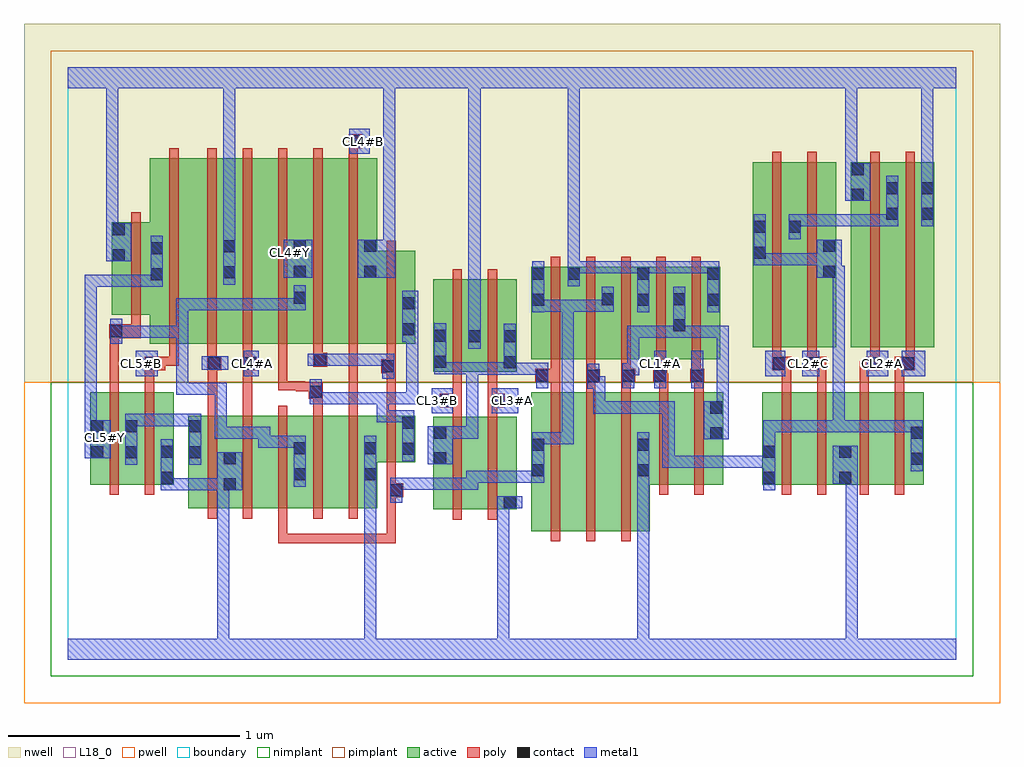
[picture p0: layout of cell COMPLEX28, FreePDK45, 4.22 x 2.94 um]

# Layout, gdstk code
import gdstk
lib = gdstk.Library(unit=1e-6, precision=1e-09)
def R(c, l, rs):  # rectangles x0, y0, x1, y1
    for r in rs: c.add(gdstk.rectangle(r[:2], r[2:], *l))
def A(c, l, x, y, w, h, nx, ny, dx, dy):  # array of equal rectangles
    R(c, l, [(x+i*dx, y+j*dy, x+i*dx+w, y+j*dy+h) for i in range(nx) for j in range(ny)])
active = (1, 0)
pwell = (2, 0)
nwell = (3, 0)
nimplant = (4, 0)
pimplant = (5, 0)
poly = (9, 0)
contact = (10, 0)
metal1 = (11, 0)
L18_0 = (18, 0)
boundary = (235, 0)

complex28 = lib.new_cell('COMPLEX28')
R(complex28, active, [(2.004,0.556,2.184,1.156), (2.004,0.556,2.064,1.156), (2.184,0.556,2.336,1.156), (2.336,0.556,2.516,1.156), (2.456,0.556,2.516,1.01), (1.58,0.65,1.76,1.05), (1.76,0.65,1.94,1.05), (1.88,0.65,1.94,1.05), (0.522,0.654,0.582,1.054), (0.522,0.654,0.73,1.054), (0.67,0.654,0.73,1.054), (0.67,0.654,0.854,1.054), (0.854,0.654,1.034,1.054), (0.974,0.654,1.034,1.054), (0.974,0.654,1.158,1.054), (1.158,0.654,1.338,1.054), (1.278,0.654,1.338,0.944), (0.098,0.756,0.158,1.156), (0.098,0.756,0.306,1.156), (0.246,0.756,0.306,1.156), (0.246,0.756,0.458,1.156), (0.398,0.756,0.458,1.156), (1.58,0.756,1.64,1.05), (2.456,0.756,2.652,1.156), (2.652,0.756,2.832,1.156), (2.772,0.756,2.832,1.156), (3.002,0.756,3.062,1.156), (3.002,0.756,3.182,1.156), (3.182,0.756,3.39,1.156), (3.33,0.756,3.518,1.156), (3.33,0.756,3.39,0.928), (3.518,0.756,3.698,1.156), (3.638,0.756,3.698,1.156), (1.278,0.854,1.502,1.054), (1.442,0.854,1.502,1.054), (1.58,1.244,1.64,1.644), (1.58,1.244,1.788,1.644), (1.728,1.244,1.788,1.644), (1.728,1.244,1.94,1.644), (1.88,1.244,1.94,1.644), (2.004,1.298,2.064,1.698), (2.004,1.298,2.216,1.698), (2.156,1.298,2.364,1.698), (2.304,1.298,2.516,1.698), (2.456,1.298,2.672,1.698), (2.612,1.298,2.82,1.698), (2.76,1.298,2.82,1.698), (2.96,1.35,3.172,2.15), (2.96,1.35,3.02,2.044), (3.112,1.35,3.32,2.15), (3.26,1.35,3.32,2.044), (3.384,1.35,3.592,2.15), (3.532,1.35,3.744,2.15), (3.684,1.35,3.744,2.15), (0.356,1.366,0.548,2.166), (0.548,1.366,0.728,2.166), (0.668,1.366,0.728,2.044), (0.668,1.366,0.854,2.166), (0.854,1.366,1.034,2.166), (0.974,1.366,1.034,2.166), (0.974,1.366,1.158,2.166), (1.158,1.366,1.338,2.166), (1.278,1.366,1.502,1.766), (1.278,1.366,1.338,2.044), (1.442,1.366,1.502,1.766), (2.456,1.38,2.516,1.698), (2.612,1.416,2.672,1.644), (2.156,1.448,2.216,1.698), (3.384,1.452,3.444,2.15), (0.192,1.49,0.252,1.89), (0.192,1.49,0.416,1.89), (0.356,1.49,0.416,1.808), (2.304,1.528,2.364,1.644), (3.112,1.686,3.172,2.044), (3.532,1.686,3.592,2.15)])
R(complex28, pwell, [(-0.188,-0.188,4.028,1.2)])
R(complex28, nwell, [(-0.188,1.2,4.028,2.748)])
R(complex28, nimplant, [(-0.072,-0.072,3.912,1.2)])
R(complex28, pimplant, [(-0.072,1.2,3.912,2.632)])
A(complex28, poly, 2.088, 0.512, 0.04, 0.688, 3, 1, 0.152, 0)
A(complex28, poly, 0.606, 0.61, 0.04, 0.488, 5, 1, 0.152, 0)
A(complex28, poly, 2.392, 1.198, 0.04, 0.04, 3, 1, 0.158, 0)
A(complex28, poly, 2.392, 1.218, 0.04, 0.076, 3, 1, 0.152, 0)
A(complex28, poly, 2.088, 1.254, 0.04, 0.488, 5, 1, 0.152, 0)
A(complex28, poly, 0.758, 1.322, 0.04, 0.888, 4, 1, 0.152, 0)
R(complex28, poly, [(0.91,0.504,0.95,0.544), (0.91,0.504,0.95,0.544), (0.91,0.504,0.95,0.544), (0.91,0.504,1.056,0.544), (0.91,0.504,0.95,0.65), (1.016,0.504,1.056,0.544), (1.016,0.504,1.182,0.544), (1.142,0.504,1.182,0.544), (1.142,0.504,1.182,0.544), (1.142,0.504,1.182,0.544), (1.142,0.504,1.418,0.544), (1.378,0.504,1.418,0.544), (1.378,0.504,1.418,0.544), (1.378,0.504,1.418,0.544), (1.378,0.504,1.418,0.544), (1.378,0.504,1.418,0.544), (1.378,0.504,1.418,0.742), (1.664,0.606,1.704,1.094), (1.816,0.606,1.856,1.094), (1.378,0.702,1.45,0.762), (0.182,0.712,0.222,1.2), (0.334,0.712,0.374,1.2), (2.556,0.712,2.596,1.2), (2.708,0.712,2.748,1.2), (3.086,0.712,3.126,1.2), (3.238,0.712,3.278,1.2), (3.422,0.712,3.462,1.2), (3.574,0.712,3.614,1.2), (1.378,0.722,1.418,0.85), (1.378,0.81,1.418,1.098), (1.664,1.054,1.704,1.13), (1.816,1.054,1.856,1.13), (0.606,1.058,0.646,1.29), (0.758,1.058,0.798,1.29), (1.062,1.058,1.102,1.168), (1.214,1.058,1.254,1.134), (1.378,1.058,1.418,1.278), (1.608,1.09,1.704,1.15), (1.816,1.09,1.888,1.15), (1.214,1.094,1.254,1.134), (1.214,1.094,1.254,1.134), (1.214,1.094,1.254,1.134), (1.214,1.094,1.254,1.362), (1.664,1.11,1.704,1.15), (1.664,1.11,1.704,1.15), (1.664,1.11,1.704,1.24), (1.816,1.11,1.856,1.15), (1.816,1.11,1.856,1.15), (1.816,1.11,1.856,1.24), (1.042,1.128,1.102,1.2), (0.182,1.16,0.222,1.43), (0.334,1.16,0.374,1.29), (0.986,1.16,1.082,1.2), (0.986,1.16,1.026,1.204), (2.088,1.16,2.128,1.238), (2.24,1.16,2.28,1.236), (2.392,1.16,2.432,1.238), (2.556,1.16,2.596,1.238), (2.708,1.16,2.748,1.238), (3.086,1.16,3.126,1.29), (3.238,1.16,3.278,1.29), (3.422,1.16,3.462,1.29), (3.574,1.16,3.614,1.29), (0.91,1.164,0.95,1.204), (0.91,1.164,0.95,1.204), (0.91,1.164,0.95,1.204), (0.91,1.164,1.026,1.204), (0.91,1.164,0.95,1.362), (2.24,1.196,2.3,1.256), (2.02,1.198,2.128,1.258), (2.088,1.198,2.128,1.238), (2.088,1.198,2.128,1.238), (2.392,1.198,2.432,1.238), (2.392,1.198,2.452,1.258), (2.53,1.198,2.59,1.258), (2.55,1.198,2.596,1.238), (2.69,1.198,2.75,1.258), (2.708,1.198,2.748,1.238), (1.664,1.2,1.704,1.688), (1.816,1.2,1.856,1.688), (2.24,1.216,2.28,1.256), (2.24,1.216,2.28,1.256), (2.24,1.216,2.28,1.294), (2.088,1.218,2.128,1.294), (1.356,1.238,1.418,1.298), (1.378,1.238,1.418,1.278), (1.378,1.238,1.418,1.278), (0.334,1.25,0.422,1.31), (0.604,1.25,0.664,1.31), (0.606,1.25,0.646,1.29), (0.606,1.25,0.646,1.29), (0.758,1.25,0.798,1.29), (0.758,1.25,0.798,1.29), (0.758,1.25,0.818,1.31), (3.044,1.25,3.126,1.31), (3.192,1.25,3.278,1.31), (3.422,1.25,3.488,1.29), (3.448,1.25,3.488,1.29), (3.448,1.25,3.508,1.31), (3.574,1.25,3.66,1.31), (1.378,1.258,1.418,1.362), (1.062,1.266,1.122,1.326), (0.382,1.27,0.422,1.31), (0.382,1.27,0.48,1.31), (0.44,1.27,0.48,1.362), (0.604,1.27,0.644,1.362), (0.758,1.27,0.798,1.362), (3.044,1.27,3.084,1.346), (3.044,1.27,3.084,1.31), (3.044,1.27,3.084,1.31), (3.196,1.27,3.236,1.346), (3.196,1.27,3.236,1.31), (3.196,1.27,3.236,1.31), (3.468,1.27,3.508,1.346), (3.62,1.27,3.66,1.346), (3.62,1.27,3.66,1.31), (3.62,1.27,3.66,1.31), (1.062,1.286,1.102,1.362), (3.044,1.306,3.084,2.194), (3.196,1.306,3.236,2.194), (3.468,1.306,3.508,2.194), (3.62,1.306,3.66,2.194), (0.44,1.322,0.48,2.21), (0.604,1.322,0.644,2.21), (1.378,1.322,1.418,1.81), (0.18,1.39,0.316,1.45), (0.182,1.39,0.222,1.43), (0.182,1.39,0.222,1.43), (0.276,1.41,0.316,1.486), (0.276,1.446,0.316,1.934), (1.214,2.17,1.254,2.25), (1.214,2.21,1.274,2.27)])
A(complex28, contact, 0.978, 1.538, 0.052, 0.052, 1, 3, 0, 0.112)
R(complex28, contact, [(1.884,0.654,1.936,0.706), (1.394,0.706,1.446,0.758), (0.674,0.732,0.726,0.784), (0.402,0.76,0.454,0.812), (3.006,0.76,3.058,0.812), (3.334,0.76,3.386,0.812), (0.978,0.776,1.03,0.828), (1.282,0.776,1.334,0.828), (2.008,0.792,2.06,0.844), (2.46,0.792,2.512,0.844), (3.642,0.842,3.694,0.894), (0.674,0.844,0.726,0.896), (1.584,0.844,1.636,0.896), (0.102,0.87,0.154,0.922), (0.25,0.87,0.302,0.922), (0.526,0.87,0.578,0.922), (0.402,0.872,0.454,0.924), (3.006,0.872,3.058,0.924), (3.334,0.872,3.386,0.924), (1.446,0.886,1.498,0.938), (0.978,0.888,1.03,0.94), (1.282,0.888,1.334,0.94), (2.008,0.904,2.06,0.956), (2.46,0.904,2.512,0.956), (2.776,0.952,2.828,1.004), (3.642,0.954,3.694,1.006), (1.584,0.956,1.636,1.008), (0.102,0.982,0.154,1.034), (0.25,0.982,0.302,1.034), (0.526,0.982,0.578,1.034), (1.446,0.998,1.498,1.05), (2.776,1.064,2.828,1.116), (1.612,1.094,1.664,1.146), (1.832,1.094,1.884,1.146), (1.046,1.132,1.098,1.184), (2.244,1.2,2.296,1.252), (2.024,1.202,2.076,1.254), (2.396,1.202,2.448,1.254), (2.534,1.202,2.586,1.254), (2.694,1.202,2.746,1.254), (1.36,1.242,1.412,1.294), (0.338,1.254,0.39,1.306), (0.608,1.254,0.66,1.306), (0.762,1.254,0.814,1.306), (3.048,1.254,3.1,1.306), (3.196,1.254,3.248,1.306), (3.452,1.254,3.504,1.306), (3.604,1.254,3.656,1.306), (1.884,1.26,1.936,1.312), (1.584,1.262,1.636,1.314), (1.066,1.27,1.118,1.322), (1.732,1.372,1.784,1.424), (1.884,1.372,1.936,1.424), (1.584,1.374,1.636,1.426), (0.184,1.394,0.236,1.446), (1.446,1.402,1.498,1.454), (2.616,1.42,2.668,1.472), (1.446,1.514,1.498,1.566), (2.008,1.53,2.06,1.582), (2.46,1.53,2.512,1.582), (2.764,1.53,2.816,1.582), (2.308,1.532,2.36,1.584), (2.616,1.532,2.668,1.584), (0.36,1.64,0.412,1.692), (2.008,1.642,2.06,1.694), (2.16,1.642,2.212,1.694), (2.46,1.642,2.512,1.694), (2.764,1.642,2.816,1.694), (0.672,1.648,0.724,1.7), (1.282,1.65,1.334,1.702), (3.264,1.65,3.316,1.702), (0.196,1.722,0.248,1.774), (2.964,1.732,3.016,1.784), (0.36,1.752,0.412,1.804), (0.672,1.76,0.724,1.812), (1.282,1.762,1.334,1.814), (3.264,1.762,3.316,1.814), (0.196,1.834,0.248,1.886), (2.964,1.844,3.016,1.896), (3.116,1.844,3.168,1.896), (3.536,1.9,3.588,1.952), (3.688,1.9,3.74,1.952), (3.388,1.982,3.44,2.034), (3.536,2.012,3.588,2.064), (3.688,2.012,3.74,2.064), (3.388,2.094,3.44,2.146), (1.218,2.214,1.27,2.266)])
R(complex28, metal1, [(0,0,3.84,0.092), (0.646,0.04,0.698,0.784), (1.282,0.04,1.334,0.092), (1.282,0.04,1.334,0.092), (1.282,0.04,1.334,0.092), (1.282,0.04,1.334,0.092), (1.282,0.04,1.334,0.092), (1.282,0.04,1.334,0.092), (1.282,0.04,1.334,0.092), (1.282,0.04,1.334,0.092), (1.282,0.04,1.334,0.092), (1.282,0.04,1.334,0.092), (1.282,0.04,1.334,0.092), (1.282,0.04,1.334,0.092), (1.282,0.04,1.334,0.8), (1.856,0.04,1.908,0.092), (1.856,0.04,1.908,0.092), (1.856,0.04,1.908,0.092), (1.856,0.04,1.908,0.092), (1.856,0.04,1.908,0.092), (1.856,0.04,1.908,0.092), (1.856,0.04,1.908,0.706), (2.46,0.04,2.512,0.092), (2.46,0.04,2.512,0.092), (2.46,0.04,2.512,0.092), (2.46,0.04,2.512,0.092), (2.46,0.04,2.512,0.092), (2.46,0.04,2.512,0.092), (2.46,0.04,2.512,0.816), (3.362,0.04,3.414,0.812), (1.856,0.654,1.908,0.706), (1.856,0.654,1.908,0.706), (1.856,0.654,1.908,0.706), (1.856,0.654,1.908,0.706), (1.856,0.654,1.908,0.706), (1.856,0.654,1.908,0.706), (1.856,0.654,1.964,0.706), (1.394,0.678,1.446,0.786), (0.402,0.732,0.454,0.952), (0.402,0.732,0.578,0.784), (0.526,0.732,0.578,0.784), (0.526,0.732,0.578,0.784), (0.526,0.732,0.578,0.784), (0.526,0.732,0.698,0.784), (0.646,0.732,0.698,0.784), (0.646,0.732,0.698,0.784), (0.646,0.732,0.698,0.784), (0.646,0.732,0.698,0.784), (0.646,0.732,0.698,0.784), (0.646,0.732,0.698,0.784), (0.646,0.732,0.698,0.784), (0.646,0.732,0.698,0.784), (0.646,0.732,0.698,0.784), (0.646,0.732,0.698,0.784), (0.646,0.732,0.698,0.784), (0.646,0.732,0.698,0.784), (0.646,0.732,0.754,0.896), (3.006,0.732,3.058,0.952), (1.394,0.734,1.516,0.786), (1.464,0.734,1.516,0.786), (1.464,0.734,1.664,0.786), (1.612,0.734,1.664,0.786), (1.612,0.734,1.664,0.786), (1.612,0.734,1.664,0.786), (1.612,0.734,1.774,0.786), (1.722,0.734,1.774,0.816), (0.978,0.748,1.03,0.968), (1.282,0.748,1.334,0.968), (3.306,0.76,3.414,0.924), (3.362,0.76,3.414,0.812), (3.362,0.76,3.414,0.812), (3.362,0.76,3.414,0.812), (3.362,0.76,3.414,0.812), (3.362,0.76,3.414,0.812), (3.362,0.76,3.414,0.812), (3.362,0.76,3.414,0.812), (3.362,0.76,3.414,0.812), (3.362,0.76,3.414,0.812), (3.362,0.76,3.414,0.812), (3.362,0.76,3.414,0.812), (3.362,0.76,3.414,0.812), (1.722,0.764,1.774,0.816), (1.722,0.764,1.774,0.816), (1.722,0.764,1.884,0.816), (1.832,0.764,1.884,0.816), (1.832,0.764,2.06,0.816), (2.008,0.764,2.06,0.984), (2.46,0.764,2.512,0.816), (2.46,0.764,2.512,0.816), (2.46,0.764,2.512,0.984), (3.642,0.814,3.694,1.034), (2.57,0.83,2.622,0.882), (2.57,0.83,2.732,0.882), (2.57,0.83,2.622,1.116), (2.68,0.83,2.732,0.882), (2.68,0.83,2.906,0.882), (2.854,0.83,2.906,0.882), (2.854,0.83,3.058,0.882), (0.25,0.842,0.302,1.062), (0.526,0.842,0.578,1.062), (1.556,0.844,1.664,1.008), (1.446,0.858,1.498,1.078), (0.074,0.87,0.186,1.034), (3.006,0.9,3.058,1.034), (0.824,0.916,1.03,0.968), (0.824,0.916,0.876,1.006), (2.008,0.932,2.06,0.984), (2.008,0.932,2.06,0.984), (2.008,0.932,2.06,0.984), (2.008,0.932,2.06,0.984), (2.008,0.932,2.06,0.984), (2.008,0.932,2.06,0.984), (2.008,0.932,2.186,0.984), (2.134,0.932,2.186,0.984), (2.134,0.932,2.186,0.984), (2.134,0.932,2.186,0.984), (2.134,0.932,2.186,1.556), (2.748,0.952,2.856,1.116), (0.636,0.954,0.688,1.006), (0.636,0.954,0.688,1.006), (0.636,0.954,0.688,1.006), (0.636,0.954,0.876,1.006), (0.636,0.954,0.688,1.196), (0.824,0.954,0.876,1.006), (0.824,0.954,0.876,1.006), (1.612,0.956,1.664,1.008), (1.612,0.956,1.664,1.008), (1.612,0.956,1.774,1.008), (1.722,0.956,1.774,1.008), (1.722,0.956,1.774,1.284), (0.074,0.982,0.126,1.034), (0.074,0.982,0.126,1.034), (0.074,0.982,0.126,1.664), (3.006,0.982,3.058,1.034), (3.006,0.982,3.058,1.034), (3.006,0.982,3.058,1.034), (3.006,0.982,3.168,1.034), (3.116,0.982,3.168,1.034), (3.116,0.982,3.168,1.034), (3.116,0.982,3.168,1.034), (3.116,0.982,3.358,1.034), (3.306,0.982,3.358,1.034), (3.306,0.982,3.358,1.034), (3.306,0.982,3.358,1.034), (3.306,0.982,3.494,1.034), (3.306,0.982,3.358,1.702), (3.442,0.982,3.494,1.034), (3.442,0.982,3.494,1.034), (3.442,0.982,3.494,1.034), (3.442,0.982,3.694,1.034), (3.642,0.982,3.694,1.034), (3.642,0.982,3.694,1.034), (0.25,1.01,0.412,1.062), (0.36,1.01,0.412,1.062), (0.36,1.01,0.412,1.062), (0.36,1.01,0.412,1.062), (0.36,1.01,0.578,1.062), (1.336,1.026,1.388,1.078), (1.336,1.026,1.498,1.078), (1.336,1.026,1.388,1.156), (1.446,1.026,1.498,1.078), (1.446,1.026,1.498,1.078), (2.27,1.064,2.322,1.116), (2.27,1.064,2.432,1.116), (2.27,1.064,2.322,1.224), (2.38,1.064,2.432,1.116), (2.38,1.064,2.432,1.116), (2.38,1.064,2.432,1.116), (2.38,1.064,2.622,1.116), (2.57,1.064,2.622,1.116), (2.57,1.064,2.622,1.116), (2.57,1.064,2.622,1.116), (2.804,1.064,2.856,1.116), (2.804,1.064,2.856,1.116), (2.804,1.064,2.856,1.116), (2.804,1.064,2.856,1.116), (2.804,1.064,2.856,1.444), (1.574,1.066,1.664,1.174), (1.832,1.066,1.946,1.174), (1.046,1.104,1.098,1.156), (1.046,1.104,1.098,1.156), (1.046,1.104,1.098,1.212), (1.046,1.104,1.256,1.156), (1.204,1.104,1.256,1.156), (1.204,1.104,1.388,1.156), (1.336,1.104,1.388,1.156), (1.336,1.104,1.416,1.156), (1.364,1.104,1.416,1.156), (1.364,1.104,1.516,1.156), (1.464,1.104,1.516,1.156), (1.464,1.104,1.516,1.156), (1.464,1.104,1.516,1.156), (1.464,1.104,1.516,1.426), (0.47,1.144,0.522,1.196), (0.47,1.144,0.564,1.196), (0.47,1.144,0.522,1.444), (0.512,1.144,0.564,1.196), (0.512,1.144,0.688,1.196), (0.636,1.144,0.688,1.196), (2.244,1.172,2.296,1.28), (2.244,1.172,2.322,1.224), (2.27,1.172,2.322,1.224), (2.024,1.174,2.076,1.282), (2.396,1.174,2.448,1.282), (2.534,1.174,2.586,1.334), (2.694,1.174,2.746,1.334), (1.36,1.214,1.412,1.322), (0.294,1.226,0.39,1.334), (0.762,1.226,0.826,1.334), (3.014,1.226,3.1,1.334), (3.174,1.226,3.248,1.334), (3.452,1.226,3.546,1.334), (3.604,1.226,3.706,1.334), (2.024,1.23,2.076,1.282), (2.024,1.23,2.076,1.284), (2.396,1.23,2.47,1.282), (2.418,1.23,2.47,1.282), (2.418,1.23,2.47,1.444), (1.722,1.232,1.774,1.284), (1.722,1.232,1.774,1.284), (1.722,1.232,1.774,1.284), (1.722,1.232,1.936,1.284), (1.884,1.232,1.936,1.284), (1.884,1.232,1.936,1.284), (1.884,1.232,1.936,1.284), (1.884,1.232,1.936,1.284), (1.884,1.232,1.936,1.452), (1.884,1.232,2.076,1.284), (1.584,1.234,1.636,1.286), (1.584,1.234,1.636,1.286), (1.584,1.234,1.636,1.454), (1.584,1.234,1.774,1.286), (1.722,1.234,1.774,1.286), (1.722,1.234,1.936,1.286), (1.884,1.234,1.936,1.286), (1.884,1.234,1.936,1.286), (0.58,1.254,0.694,1.312), (1.038,1.27,1.146,1.322), (1.094,1.27,1.146,1.322), (1.094,1.27,1.146,1.322), (1.094,1.27,1.302,1.322), (1.25,1.27,1.302,1.322), (1.25,1.27,1.302,1.322), (1.25,1.27,1.302,1.322), (1.25,1.27,1.412,1.322), (1.732,1.344,1.784,1.452), (0.184,1.366,0.236,1.474), (1.446,1.374,1.516,1.594), (0.184,1.392,0.236,1.444), (0.184,1.392,0.236,1.444), (0.184,1.392,0.412,1.444), (0.36,1.392,0.412,1.444), (0.36,1.392,0.412,1.444), (0.36,1.392,0.412,1.444), (0.36,1.392,0.522,1.444), (0.47,1.392,0.522,1.444), (0.47,1.392,0.522,1.562), (2.418,1.392,2.47,1.444), (2.418,1.392,2.622,1.444), (2.57,1.392,2.622,1.444), (2.57,1.392,2.668,1.444), (2.616,1.392,2.668,1.612), (2.616,1.392,2.856,1.444), (2.804,1.392,2.856,1.444), (2.804,1.392,2.856,1.444), (2.804,1.392,2.856,1.444), (1.732,1.4,1.784,1.452), (1.732,1.4,1.784,1.452), (1.732,1.4,1.784,2.52), (2.008,1.502,2.06,1.722), (2.46,1.502,2.512,1.722), (2.764,1.502,2.816,1.722), (2.008,1.504,2.06,1.556), (2.008,1.504,2.06,1.556), (2.008,1.504,2.186,1.556), (2.134,1.504,2.186,1.556), (2.134,1.504,2.186,1.556), (2.134,1.504,2.186,1.556), (2.134,1.504,2.186,1.556), (2.134,1.504,2.186,1.556), (2.134,1.504,2.36,1.556), (2.308,1.504,2.36,1.612), (0.47,1.51,0.522,1.562), (0.47,1.51,0.564,1.562), (0.512,1.51,0.564,1.562), (0.512,1.51,0.688,1.562), (0.636,1.51,0.688,1.562), (0.636,1.51,0.688,1.562), (0.636,1.51,0.688,1.562), (0.636,1.51,0.876,1.562), (0.824,1.51,0.876,1.562), (0.824,1.51,0.876,1.562), (0.824,1.51,0.876,1.562), (0.824,1.51,1.03,1.562), (0.978,1.51,1.03,1.618), (0.074,1.612,0.126,1.664), (0.074,1.612,0.126,1.664), (0.074,1.612,0.126,1.664), (0.074,1.612,0.126,1.664), (0.074,1.612,0.126,1.664), (0.074,1.612,0.126,1.664), (0.074,1.612,0.126,1.664), (0.074,1.612,0.412,1.664), (0.36,1.612,0.412,1.832), (2.16,1.614,2.212,1.722), (0.672,1.62,0.724,1.84), (0.934,1.65,1.058,1.814), (1.254,1.65,1.416,1.814), (3.236,1.65,3.344,1.814), (3.292,1.65,3.344,1.702), (3.292,1.65,3.358,1.702), (3.306,1.65,3.358,1.702), (3.306,1.65,3.358,1.702), (2.16,1.67,2.212,1.722), (2.16,1.67,2.212,1.722), (2.16,1.67,2.212,1.722), (2.16,1.67,2.212,1.722), (2.16,1.67,2.322,1.722), (2.16,1.67,2.212,2.52), (2.27,1.67,2.322,1.722), (2.27,1.67,2.476,1.722), (2.424,1.67,2.476,1.722), (2.424,1.67,2.512,1.722), (2.46,1.67,2.622,1.722), (2.57,1.67,2.622,1.722), (2.57,1.67,2.622,1.722), (2.57,1.67,2.622,1.722), (2.57,1.67,2.816,1.722), (2.764,1.67,2.816,1.722), (2.764,1.67,2.816,1.722), (2.964,1.704,3.016,1.756), (2.964,1.704,3.016,1.756), (2.964,1.704,3.016,1.924), (2.964,1.704,3.168,1.756), (3.116,1.704,3.168,1.756), (3.116,1.704,3.168,1.756), (3.116,1.704,3.168,1.756), (3.116,1.704,3.288,1.756), (0.168,1.722,0.276,1.886), (1.364,1.762,1.416,2.52), (0.672,1.788,0.724,2.52), (3.116,1.816,3.168,1.924), (0.168,1.834,0.22,1.886), (0.168,1.834,0.22,1.886), (0.168,1.834,0.22,2.52), (3.116,1.872,3.168,1.924), (3.116,1.872,3.168,1.924), (3.116,1.872,3.358,1.924), (3.306,1.872,3.358,1.924), (3.306,1.872,3.358,1.924), (3.306,1.872,3.358,1.924), (3.306,1.872,3.546,1.924), (3.494,1.872,3.546,1.924), (3.494,1.872,3.588,1.924), (3.536,1.872,3.588,2.092), (3.688,1.872,3.74,2.092), (3.36,1.982,3.468,2.146), (3.688,2.04,3.74,2.52), (3.36,2.094,3.412,2.146), (3.36,2.094,3.412,2.146), (3.36,2.094,3.412,2.52), (1.218,2.186,1.306,2.294), (0,2.468,3.84,2.56), (0.168,2.468,0.22,2.52), (0.168,2.468,0.22,2.52), (0.168,2.468,0.22,2.52), (0.168,2.468,0.22,2.52), (0.168,2.468,0.22,2.52), (0.168,2.468,0.22,2.52), (0.168,2.468,0.22,2.52), (0.168,2.468,0.22,2.52), (0.168,2.468,0.22,2.52), (0.168,2.468,0.22,2.52), (0.168,2.468,0.22,2.52), (0.168,2.468,0.22,2.52), (0.168,2.468,0.22,2.52), (0.168,2.468,0.22,2.52), (0.672,2.468,0.724,2.52), (0.672,2.468,0.724,2.52), (0.672,2.468,0.724,2.52), (0.672,2.468,0.724,2.52), (0.672,2.468,0.724,2.52), (0.672,2.468,0.724,2.52), (0.672,2.468,0.724,2.52), (0.672,2.468,0.724,2.52), (1.364,2.468,1.416,2.52), (1.364,2.468,1.416,2.52), (1.364,2.468,1.416,2.52), (1.364,2.468,1.416,2.52), (1.364,2.468,1.416,2.52), (1.364,2.468,1.416,2.52), (1.364,2.468,1.416,2.52), (1.364,2.468,1.416,2.52), (1.732,2.468,1.784,2.52), (1.732,2.468,1.784,2.52), (1.732,2.468,1.784,2.52), (1.732,2.468,1.784,2.52), (1.732,2.468,1.784,2.52), (1.732,2.468,1.784,2.52), (1.732,2.468,1.784,2.52), (1.732,2.468,1.784,2.52), (1.732,2.468,1.784,2.52), (1.732,2.468,1.784,2.52), (1.732,2.468,1.784,2.52), (1.732,2.468,1.784,2.52), (1.732,2.468,1.784,2.52), (1.732,2.468,1.784,2.52), (2.16,2.468,2.212,2.52), (2.16,2.468,2.212,2.52), (2.16,2.468,2.212,2.52), (2.16,2.468,2.212,2.52), (2.16,2.468,2.212,2.52), (2.16,2.468,2.212,2.52), (2.16,2.468,2.212,2.52), (2.16,2.468,2.212,2.52), (2.16,2.468,2.212,2.52), (2.16,2.468,2.212,2.52), (2.16,2.468,2.212,2.52), (2.16,2.468,2.212,2.52), (2.16,2.468,2.212,2.52), (2.16,2.468,2.212,2.52), (3.36,2.468,3.412,2.52), (3.36,2.468,3.412,2.52), (3.36,2.468,3.412,2.52), (3.36,2.468,3.412,2.52), (3.36,2.468,3.412,2.52), (3.36,2.468,3.412,2.52), (3.688,2.468,3.74,2.52), (3.688,2.468,3.74,2.52), (3.688,2.468,3.74,2.52), (3.688,2.468,3.74,2.52), (3.688,2.468,3.74,2.52), (3.688,2.468,3.74,2.52), (3.688,2.468,3.74,2.52), (3.688,2.468,3.74,2.52)])
R(complex28, L18_0, [(0,0,3.84,0.092), (0.646,0.04,0.698,0.784), (1.282,0.04,1.334,0.092), (1.282,0.04,1.334,0.092), (1.282,0.04,1.334,0.092), (1.282,0.04,1.334,0.092), (1.282,0.04,1.334,0.092), (1.282,0.04,1.334,0.092), (1.282,0.04,1.334,0.092), (1.282,0.04,1.334,0.092), (1.282,0.04,1.334,0.092), (1.282,0.04,1.334,0.092), (1.282,0.04,1.334,0.092), (1.282,0.04,1.334,0.092), (1.282,0.04,1.334,0.8), (1.856,0.04,1.908,0.092), (1.856,0.04,1.908,0.092), (1.856,0.04,1.908,0.092), (1.856,0.04,1.908,0.092), (1.856,0.04,1.908,0.092), (1.856,0.04,1.908,0.092), (1.856,0.04,1.908,0.706), (2.46,0.04,2.512,0.092), (2.46,0.04,2.512,0.092), (2.46,0.04,2.512,0.092), (2.46,0.04,2.512,0.092), (2.46,0.04,2.512,0.092), (2.46,0.04,2.512,0.092), (2.46,0.04,2.512,0.816), (3.362,0.04,3.414,0.812), (1.856,0.654,1.908,0.706), (1.856,0.654,1.908,0.706), (1.856,0.654,1.908,0.706), (1.856,0.654,1.908,0.706), (1.856,0.654,1.908,0.706), (1.856,0.654,1.908,0.706), (1.856,0.654,1.964,0.706), (0.402,0.732,0.454,0.952), (0.402,0.732,0.578,0.784), (0.526,0.732,0.578,0.784), (0.526,0.732,0.578,0.784), (0.526,0.732,0.578,0.784), (0.526,0.732,0.698,0.784), (0.646,0.732,0.698,0.784), (0.646,0.732,0.698,0.784), (0.646,0.732,0.698,0.784), (0.646,0.732,0.698,0.784), (0.646,0.732,0.698,0.784), (0.646,0.732,0.698,0.784), (0.646,0.732,0.698,0.784), (0.646,0.732,0.698,0.784), (0.646,0.732,0.698,0.784), (0.646,0.732,0.698,0.784), (0.646,0.732,0.698,0.784), (0.646,0.732,0.698,0.784), (0.646,0.732,0.754,0.896), (0.978,0.748,1.03,0.968), (1.282,0.748,1.334,0.968), (3.306,0.76,3.414,0.924), (3.362,0.76,3.414,0.812), (3.362,0.76,3.414,0.812), (3.362,0.76,3.414,0.812), (3.362,0.76,3.414,0.812), (3.362,0.76,3.414,0.812), (3.362,0.76,3.414,0.812), (3.362,0.76,3.414,0.812), (3.362,0.76,3.414,0.812), (3.362,0.76,3.414,0.812), (3.362,0.76,3.414,0.812), (3.362,0.76,3.414,0.812), (3.362,0.76,3.414,0.812), (2.46,0.764,2.512,0.816), (2.46,0.764,2.512,0.816), (2.46,0.764,2.512,0.984), (0.074,0.87,0.186,1.034), (0.824,0.916,0.876,1.006), (0.824,0.916,1.03,0.968), (0.134,0.934,0.186,0.986), (0.636,0.954,0.688,1.006), (0.636,0.954,0.688,1.006), (0.636,0.954,0.688,1.006), (0.636,0.954,0.688,1.196), (0.636,0.954,0.876,1.006), (0.824,0.954,0.876,1.006), (0.824,0.954,0.876,1.006), (0.074,0.982,0.126,1.034), (0.074,0.982,0.126,1.034), (0.074,0.982,0.126,1.664), (1.574,1.066,1.664,1.174), (1.832,1.066,1.946,1.174), (1.574,1.094,1.626,1.146), (1.894,1.094,1.946,1.146), (0.47,1.144,0.522,1.196), (0.47,1.144,0.522,1.444), (0.47,1.144,0.564,1.196), (0.512,1.144,0.564,1.196), (0.512,1.144,0.688,1.196), (0.636,1.144,0.688,1.196), (2.534,1.174,2.586,1.334), (2.694,1.174,2.746,1.334), (0.294,1.226,0.39,1.334), (0.762,1.226,0.826,1.334), (3.014,1.226,3.1,1.334), (3.174,1.226,3.248,1.334), (3.452,1.226,3.546,1.334), (3.604,1.226,3.706,1.334), (0.294,1.254,0.346,1.306), (0.58,1.254,0.694,1.312), (0.614,1.254,0.666,1.306), (0.774,1.254,0.826,1.306), (2.534,1.254,2.586,1.306), (2.694,1.254,2.746,1.306), (3.014,1.254,3.066,1.306), (3.174,1.254,3.226,1.306), (3.494,1.254,3.546,1.306), (3.654,1.254,3.706,1.306), (1.732,1.344,1.784,1.452), (0.184,1.366,0.236,1.474), (0.184,1.392,0.236,1.444), (0.184,1.392,0.236,1.444), (0.184,1.392,0.412,1.444), (0.36,1.392,0.412,1.444), (0.36,1.392,0.412,1.444), (0.36,1.392,0.412,1.444), (0.36,1.392,0.522,1.444), (0.47,1.392,0.522,1.444), (0.47,1.392,0.522,1.562), (1.732,1.4,1.784,1.452), (1.732,1.4,1.784,1.452), (1.732,1.4,1.784,2.52), (2.46,1.502,2.512,1.722), (2.764,1.502,2.816,1.722), (0.47,1.51,0.522,1.562), (0.47,1.51,0.564,1.562), (0.512,1.51,0.564,1.562), (0.512,1.51,0.688,1.562), (0.636,1.51,0.688,1.562), (0.636,1.51,0.688,1.562), (0.636,1.51,0.688,1.562), (0.636,1.51,0.876,1.562), (0.824,1.51,0.876,1.562), (0.824,1.51,0.876,1.562), (0.824,1.51,0.876,1.562), (0.824,1.51,1.03,1.562), (0.978,1.51,1.03,1.618), (0.074,1.612,0.126,1.664), (0.074,1.612,0.126,1.664), (0.074,1.612,0.126,1.664), (0.074,1.612,0.126,1.664), (0.074,1.612,0.126,1.664), (0.074,1.612,0.126,1.664), (0.074,1.612,0.126,1.664), (0.074,1.612,0.412,1.664), (0.36,1.612,0.412,1.832), (2.16,1.614,2.212,1.722), (0.672,1.62,0.724,1.84), (0.934,1.65,1.058,1.814), (1.254,1.65,1.416,1.814), (2.16,1.67,2.212,1.722), (2.16,1.67,2.212,1.722), (2.16,1.67,2.212,1.722), (2.16,1.67,2.212,1.722), (2.16,1.67,2.322,1.722), (2.16,1.67,2.212,2.52), (2.27,1.67,2.322,1.722), (2.27,1.67,2.476,1.722), (2.424,1.67,2.476,1.722), (2.424,1.67,2.512,1.722), (2.46,1.67,2.622,1.722), (2.57,1.67,2.622,1.722), (2.57,1.67,2.622,1.722), (2.57,1.67,2.622,1.722), (2.57,1.67,2.816,1.722), (2.764,1.67,2.816,1.722), (2.764,1.67,2.816,1.722), (0.168,1.722,0.276,1.886), (0.934,1.734,0.986,1.786), (1.364,1.762,1.416,2.52), (0.672,1.788,0.724,2.52), (0.168,1.834,0.22,1.886), (0.168,1.834,0.22,1.886), (0.168,1.834,0.22,2.52), (3.688,1.872,3.74,2.092), (3.36,1.982,3.468,2.146), (3.688,2.04,3.74,2.52), (3.36,2.094,3.412,2.146), (3.36,2.094,3.412,2.146), (3.36,2.094,3.412,2.52), (1.218,2.186,1.306,2.294), (1.254,2.214,1.306,2.266), (0,2.468,3.84,2.56), (0.168,2.468,0.22,2.52), (0.168,2.468,0.22,2.52), (0.168,2.468,0.22,2.52), (0.168,2.468,0.22,2.52), (0.168,2.468,0.22,2.52), (0.168,2.468,0.22,2.52), (0.168,2.468,0.22,2.52), (0.168,2.468,0.22,2.52), (0.168,2.468,0.22,2.52), (0.168,2.468,0.22,2.52), (0.168,2.468,0.22,2.52), (0.168,2.468,0.22,2.52), (0.168,2.468,0.22,2.52), (0.168,2.468,0.22,2.52), (0.672,2.468,0.724,2.52), (0.672,2.468,0.724,2.52), (0.672,2.468,0.724,2.52), (0.672,2.468,0.724,2.52), (0.672,2.468,0.724,2.52), (0.672,2.468,0.724,2.52), (0.672,2.468,0.724,2.52), (0.672,2.468,0.724,2.52), (1.364,2.468,1.416,2.52), (1.364,2.468,1.416,2.52), (1.364,2.468,1.416,2.52), (1.364,2.468,1.416,2.52), (1.364,2.468,1.416,2.52), (1.364,2.468,1.416,2.52), (1.364,2.468,1.416,2.52), (1.364,2.468,1.416,2.52), (1.732,2.468,1.784,2.52), (1.732,2.468,1.784,2.52), (1.732,2.468,1.784,2.52), (1.732,2.468,1.784,2.52), (1.732,2.468,1.784,2.52), (1.732,2.468,1.784,2.52), (1.732,2.468,1.784,2.52), (1.732,2.468,1.784,2.52), (1.732,2.468,1.784,2.52), (1.732,2.468,1.784,2.52), (1.732,2.468,1.784,2.52), (1.732,2.468,1.784,2.52), (1.732,2.468,1.784,2.52), (1.732,2.468,1.784,2.52), (2.16,2.468,2.212,2.52), (2.16,2.468,2.212,2.52), (2.16,2.468,2.212,2.52), (2.16,2.468,2.212,2.52), (2.16,2.468,2.212,2.52), (2.16,2.468,2.212,2.52), (2.16,2.468,2.212,2.52), (2.16,2.468,2.212,2.52), (2.16,2.468,2.212,2.52), (2.16,2.468,2.212,2.52), (2.16,2.468,2.212,2.52), (2.16,2.468,2.212,2.52), (2.16,2.468,2.212,2.52), (2.16,2.468,2.212,2.52), (3.36,2.468,3.412,2.52), (3.36,2.468,3.412,2.52), (3.36,2.468,3.412,2.52), (3.36,2.468,3.412,2.52), (3.36,2.468,3.412,2.52), (3.36,2.468,3.412,2.52), (3.688,2.468,3.74,2.52), (3.688,2.468,3.74,2.52), (3.688,2.468,3.74,2.52), (3.688,2.468,3.74,2.52), (3.688,2.468,3.74,2.52), (3.688,2.468,3.74,2.52), (3.688,2.468,3.74,2.52), (3.688,2.468,3.74,2.52)])
R(complex28, boundary, [(0,0,3.84,2.56)])
complex28.add(gdstk.Label('CL1#A', (2.56,1.28), layer=11, texttype=0))
complex28.add(gdstk.Label('CL1#B', (2.72,1.28), layer=11, texttype=0))
complex28.add(gdstk.Label('CL2#A', (3.52,1.28), layer=11, texttype=0))
complex28.add(gdstk.Label('CL2#B', (3.68,1.28), layer=11, texttype=0))
complex28.add(gdstk.Label('CL2#C', (3.2,1.28), layer=11, texttype=0))
complex28.add(gdstk.Label('CL2#D', (3.04,1.28), layer=11, texttype=0))
complex28.add(gdstk.Label('CL3#A', (1.92,1.12), layer=11, texttype=0))
complex28.add(gdstk.Label('CL3#B', (1.6,1.12), layer=11, texttype=0))
complex28.add(gdstk.Label('CL4#A', (0.8,1.28), layer=11, texttype=0))
complex28.add(gdstk.Label('CL4#B', (1.28,2.24), layer=11, texttype=0))
complex28.add(gdstk.Label('CL4#Y', (0.96,1.76), layer=11, texttype=0))
complex28.add(gdstk.Label('CL5#A', (0.64,1.28), layer=11, texttype=0))
complex28.add(gdstk.Label('CL5#B', (0.32,1.28), layer=11, texttype=0))
complex28.add(gdstk.Label('CL5#Y', (0.16,0.96), layer=11, texttype=0))

lib.write_gds('COMPLEX28.gds')
